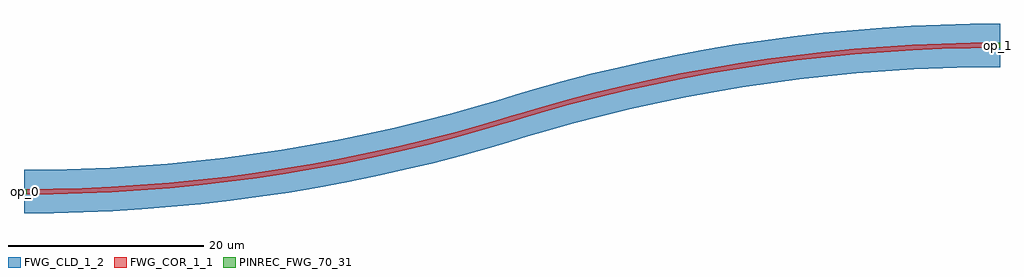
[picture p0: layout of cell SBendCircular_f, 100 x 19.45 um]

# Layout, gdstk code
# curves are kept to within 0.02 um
import gdstk
lib = gdstk.Library(unit=1e-6, precision=1e-09)
def R(c, l, rs):  # rectangles x0, y0, x1, y1
    for r in rs: c.add(gdstk.rectangle(r[:2], r[2:], *l))
def P(c, l, *ps):  # polygons
    for p in ps: c.add(gdstk.Polygon(p, *l))
FWG_COR_1_1 = (1, 1)
FWG_CLD_1_2 = (1, 2)
PINREC_FWG_70_31 = (70, 31)

c_wg = lib.new_cell('wg')
P(c_wg, FWG_COR_1_1, [(-50,-7.225),(-47.02,-7.199),(-44.041,-7.121),(-41.063,-6.99),(-38.089,-6.808),(-35.118,-6.573),(-32.151,-6.286),(-29.19,-5.948),(-26.236,-5.557),(-23.288,-5.115),(-20.349,-4.621),(-17.419,-4.076),(-14.499,-3.48),(-11.59,-2.833),(-8.693,-2.135),(-5.808,-1.386),(-2.937,-0.586),(2.786,1.115),(5.666,1.917),(8.559,2.668),(11.466,3.369),(14.385,4.018),(17.314,4.616),(20.254,5.163),(23.202,5.658),(26.159,6.102),(29.123,6.493),(32.094,6.833),(35.07,7.121),(38.05,7.356),(41.034,7.539),(44.021,7.67),(47.01,7.749),(50,7.775),(50,7.225),(47.02,7.199),(44.041,7.121),(41.063,6.99),(38.089,6.808),(35.118,6.573),(32.151,6.286),(29.19,5.948),(26.236,5.557),(23.288,5.115),(20.349,4.621),(17.419,4.076),(14.499,3.48),(11.59,2.833),(8.693,2.135),(5.808,1.386),(2.937,0.586),(-2.786,-1.115),(-5.666,-1.917),(-8.559,-2.668),(-11.466,-3.369),(-14.385,-4.018),(-17.314,-4.616),(-20.254,-5.163),(-23.202,-5.658),(-26.159,-6.102),(-29.123,-6.493),(-32.094,-6.833),(-35.07,-7.121),(-38.05,-7.356),(-41.034,-7.539),(-44.021,-7.67),(-47.01,-7.749),(-50,-7.775)])
P(c_wg, FWG_CLD_1_2, [(-50,-5.275),(-47.059,-5.249),(-44.109,-5.172),(-41.166,-5.043),(-38.225,-4.862),(-35.288,-4.63),(-32.356,-4.347),(-29.429,-4.012),(-26.508,-3.626),(-23.595,-3.189),(-20.689,-2.701),(-17.793,-2.162),(-14.906,-1.573),(-12.031,-0.933),(-9.166,-0.243),(-6.315,0.497),(-3.472,1.289),(2.25,2.99),(5.159,3.8),(8.086,4.56),(11.026,5.268),(13.978,5.925),(16.941,6.53),(19.914,7.083),(22.896,7.584),(25.887,8.033),(28.884,8.429),(31.889,8.772),(34.899,9.063),(37.914,9.301),(40.932,9.487),(43.953,9.619),(46.971,9.698),(50,9.725),(50,5.275),(47.059,5.249),(44.109,5.172),(41.166,5.043),(38.225,4.862),(35.288,4.63),(32.356,4.347),(29.429,4.012),(26.508,3.626),(23.595,3.189),(20.689,2.701),(17.793,2.162),(14.906,1.573),(12.031,0.933),(9.166,0.243),(6.315,-0.497),(3.472,-1.289),(-2.25,-2.99),(-5.159,-3.8),(-8.086,-4.56),(-11.026,-5.268),(-13.978,-5.925),(-16.941,-6.53),(-19.914,-7.083),(-22.896,-7.584),(-25.887,-8.033),(-28.884,-8.429),(-31.889,-8.772),(-34.899,-9.063),(-37.914,-9.301),(-40.932,-9.487),(-43.953,-9.619),(-46.971,-9.698),(-50,-9.725)])
R(c_wg, PINREC_FWG_70_31, [(-50,-7.775,-49.7,-7.225), (49.7,7.225,50,7.775)])
c_wg.add(gdstk.Label('op_0', (-49.85,-7.5), layer=70, texttype=41))
c_wg.add(gdstk.Label('op_1', (49.85,7.5), layer=70, texttype=41))

sbendcircular_f = lib.new_cell('SBendCircular_f')
R(sbendcircular_f, PINREC_FWG_70_31, [(-50,-7.775,-49.7,-7.225), (49.7,7.225,50,7.775)])
sbendcircular_f.add(gdstk.Reference(c_wg, (0,0)))
sbendcircular_f.add(gdstk.Label('op_0', (-49.85,-7.5), layer=70, texttype=41))
sbendcircular_f.add(gdstk.Label('op_1', (49.85,7.5), layer=70, texttype=41))

lib.write_gds('SBendCircular_f.gds')
